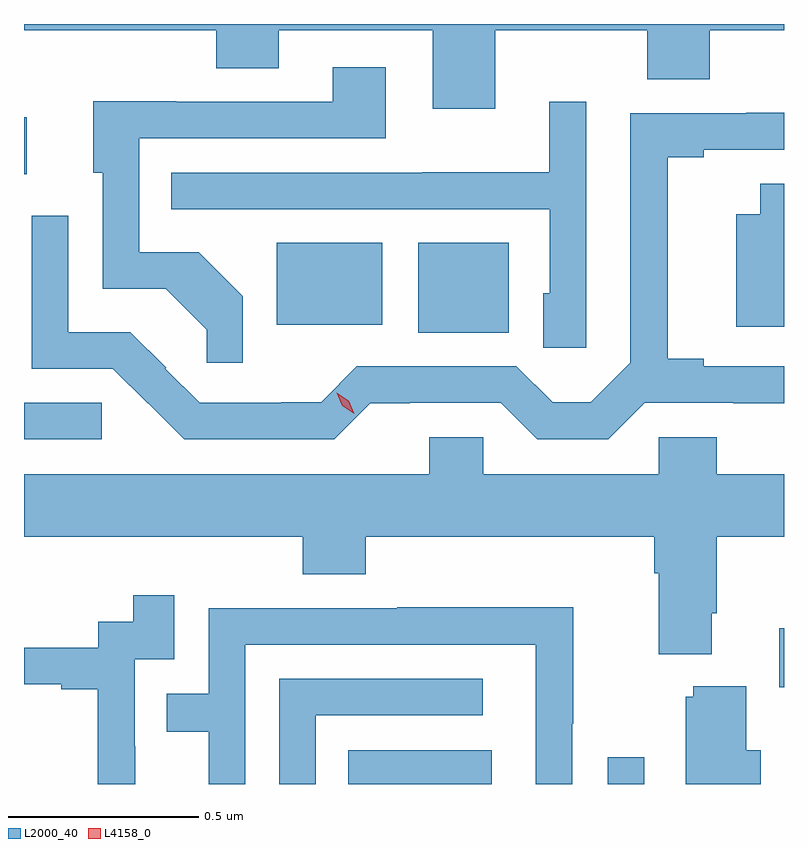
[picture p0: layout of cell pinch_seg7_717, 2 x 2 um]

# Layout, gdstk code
import gdstk
lib = gdstk.Library(unit=1e-6, precision=1e-09)
def R(c, l, rs):  # rectangles x0, y0, x1, y1
    for r in rs: c.add(gdstk.rectangle(r[:2], r[2:], *l))
def P(c, l, *ps):  # polygons
    for p in ps: c.add(gdstk.Polygon(p, *l))
L2000_40 = (2000, 40)
L4158_0 = (4158, 0)

pinch_seg7_717 = lib.new_cell('pinch_seg7_717')
R(pinch_seg7_717, L2000_40, [(220.606,1033.265,220.984,1033.354), (221.289,1033.265,221.385,1033.336), (221.741,1033.519,221.753,1033.675), (219.753,1034.172,219.957,1034.268), (220.79,1034.453,221.029,1034.689), (220.418,1034.474,220.696,1034.689), (219.753,1034.87,219.76,1035.019)])
P(pinch_seg7_717, L2000_40, [(220.993,1035.248),(221.393,1035.248),(221.393,1035.12),(221.557,1035.12),(221.557,1035.248),(221.753,1035.248),(221.753,1035.265),(219.753,1035.265),(219.753,1035.248),(220.259,1035.248),(220.259,1035.149),(220.423,1035.149),(220.423,1035.248),(220.829,1035.248),(220.829,1035.042),(220.993,1035.042)],
  [(220.329,1034.548),(220.213,1034.664),(220.056,1034.664),(220.056,1034.964),(220.705,1034.964),(220.705,1035.151),(220.565,1035.151),(220.565,1035.06),(220.153,1035.06),(220.153,1035.062),(219.935,1035.062),(219.935,1034.874),(219.96,1034.874),(219.96,1034.568),(220.126,1034.568),(220.234,1034.46),(220.234,1034.373),(220.329,1034.373)],
  [(221.232,1035.061),(221.135,1035.061),(221.135,1034.875),(220.801,1034.875),(220.801,1034.874),(220.141,1034.874),(220.141,1034.778),(221.136,1034.778),(221.136,1034.556),(221.12,1034.556),(221.12,1034.413),(221.232,1034.413)],
  [(220.664,1034.267),(220.768,1034.267),(220.768,1034.268),(221.007,1034.268),(221.103,1034.172),(221.29,1034.172),(221.386,1034.268),(221.619,1034.268),(221.619,1034.267),(221.753,1034.267),(221.753,1034.364),(221.542,1034.364),(221.542,1034.384),(221.447,1034.384),(221.447,1034.914),(221.542,1034.914),(221.542,1034.934),(221.753,1034.934),(221.753,1035.032),(221.653,1035.032),(221.653,1035.03),(221.349,1035.03),(221.349,1034.373),(221.245,1034.269),(221.144,1034.269),(221.049,1034.364),(220.629,1034.364),(220.535,1034.27),(220.43,1034.27),(220.43,1034.268),(220.215,1034.268),(220.125,1034.358),(220.127,1034.36),(220.033,1034.454),(219.87,1034.454),(219.87,1034.761),(219.774,1034.761),(219.774,1034.358),(219.987,1034.358),(220.078,1034.267),(220.079,1034.268),(220.175,1034.172),(220.569,1034.172)],
  [(221.753,1034.845),(221.69,1034.845),(221.69,1034.764),(221.627,1034.764),(221.627,1034.468),(221.753,1034.468)],
  [(221.563,1033.714),(221.576,1033.714),(221.576,1033.916),(221.753,1033.916),(221.753,1034.08),(221.576,1034.08),(221.576,1034.178),(221.424,1034.178),(221.424,1034.08),(220.962,1034.08),(220.962,1034.178),(220.82,1034.178),(220.82,1034.08),(219.753,1034.08),(219.753,1033.916),(220.487,1033.916),(220.487,1033.817),(220.652,1033.817),(220.652,1033.916),(221.411,1033.916),(221.411,1033.82),(221.423,1033.82),(221.423,1033.607),(221.563,1033.607)],
  [(220.046,1033.364),(220.044,1033.364),(220.044,1033.593),(220.149,1033.593),(220.149,1033.762),(220.041,1033.762),(220.041,1033.692),(219.948,1033.692),(219.948,1033.623),(219.753,1033.623),(219.753,1033.527),(219.851,1033.527),(219.851,1033.515),(219.947,1033.515),(219.947,1033.265),(220.046,1033.265)],
  [(220.335,1033.632),(221.1,1033.632),(221.1,1033.265),(221.196,1033.265),(221.196,1033.423),(221.199,1033.423),(221.199,1033.73),(220.735,1033.73),(220.735,1033.728),(220.239,1033.728),(220.239,1033.503),(220.129,1033.503),(220.129,1033.402),(220.239,1033.402),(220.239,1033.265),(220.335,1033.265)],
  [(220.521,1033.446),(220.96,1033.446),(220.96,1033.542),(220.425,1033.542),(220.425,1033.265),(220.521,1033.265)],
  [(221.692,1033.354),(221.653,1033.354),(221.653,1033.522),(221.514,1033.522),(221.514,1033.494),(221.495,1033.494),(221.495,1033.265),(221.692,1033.265)])
P(pinch_seg7_717, L4158_0, [(220.622,1034.239),(220.591,1034.26),(220.576,1034.294),(220.576,1034.295),(220.576,1034.295),(220.607,1034.273),(220.622,1034.24),(220.622,1034.239)])

lib.write_gds('pinch_seg7_717.gds')
